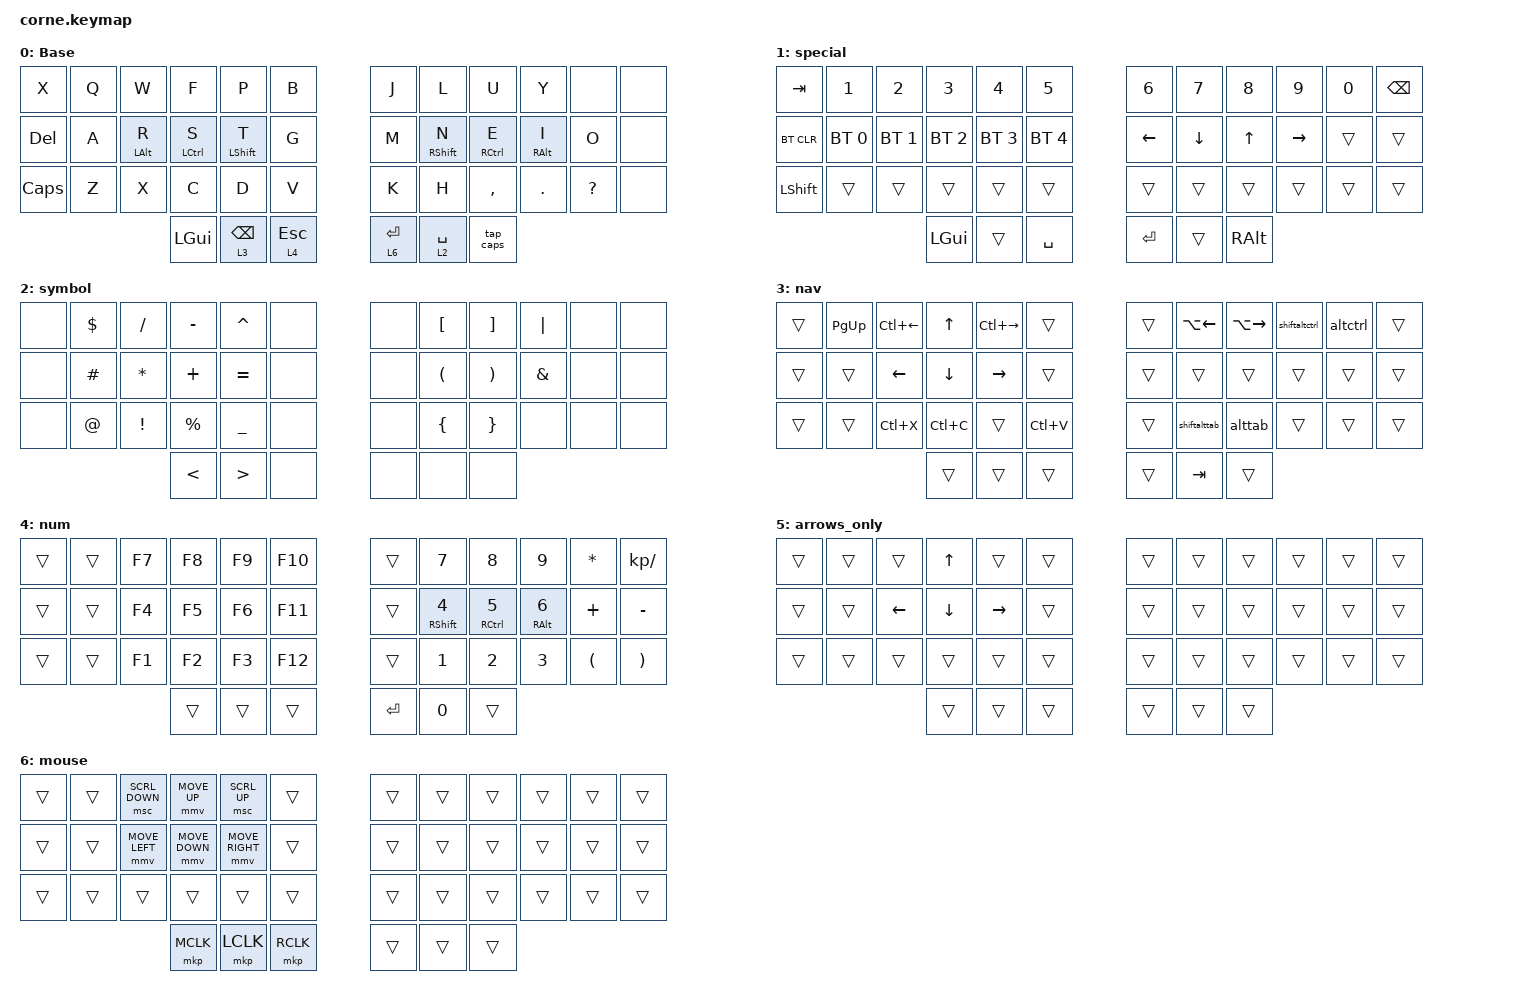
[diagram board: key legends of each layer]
/*
 * Copyright (c) 2020 The ZMK Contributors
 *
 * SPDX-License-Identifier: MIT
 */

#include <behaviors.dtsi>
#include <dt-bindings/zmk/bt.h>
#include <dt-bindings/zmk/keys.h>
#include <dt-bindings/zmk/pointing.h>

/ {
    behaviors {
        thumb_mod: thumb_mod {
            compatible = "zmk,behavior-hold-tap";
            label = "THUMB_MOD";
            bindings = <&mo>, <&kp>;

            #binding-cells = <2>;
            flavor = "balanced";
            require-prior-idle-ms = <150>;
            tapping-term-ms = <250>;
            quick-tap-ms = <175>;
        };

        homerow_left: homerow_left {
            compatible = "zmk,behavior-hold-tap";
            label = "HOMEROW_LEFT";
            bindings = <&kp>, <&kp>;

            #binding-cells = <2>;
            tapping-term-ms = <500>;
            quick-tap-ms = <175>;
            require-prior-idle-ms = <150>;
            flavor = "balanced";
            hold-trigger-on-release;
            hold-trigger-key-positions = <39 40 41 36 37 38 6 7 8 9 10 11 18 19 20 21 22 23 30 31 32 33 34 35 39 40 41>;
        };

        homerow_right: homerow_right {
            compatible = "zmk,behavior-hold-tap";
            label = "HOMEROW_RIGHT";
            bindings = <&kp>, <&kp>;

            #binding-cells = <2>;
            tapping-term-ms = <500>;
            quick-tap-ms = <175>;
            require-prior-idle-ms = <150>;
            flavor = "balanced";
            hold-trigger-on-release;
            hold-trigger-key-positions = <36 37 38 39 40 41 0 1 2 3 4 5 12 13 14 15 16 17 24 25 26 27 28 29 36 37 38>;
        };

        tap_caps: tap_caps {
            compatible = "zmk,behavior-tap-dance";
            label = "TAP_CAPS";
            #binding-cells = <0>;
            bindings = <&sk RSHFT>, <&caps_word>;

            tapping-term-ms = <400>;
        };
    };

    macros {
        altctrl: altctrl {
            compatible = "zmk,behavior-macro";
            #binding-cells = <0>;
            bindings =
                <&macro_press>,
                <&kp LCTRL &mo 5>,
                <&macro_tap>,
                <&kp TAB>,
                <&macro_pause_for_release>,
                <&macro_release>,
                <&kp LCTRL &mo 5>;

            label = "ALTCTRL";
        };

        shiftaltctrl: shiftaltctrl {
            compatible = "zmk,behavior-macro";
            #binding-cells = <0>;
            bindings =
                <&macro_press>,
                <&kp LCTRL &kp LSHIFT &mo 5>,
                <&macro_tap>,
                <&kp TAB>,
                <&macro_pause_for_release>,
                <&macro_release>,
                <&kp LCTRL &mo 5>;

            label = "SHIFTALTCTRL";
        };

        alttab: alttab {
            compatible = "zmk,behavior-macro";
            #binding-cells = <0>;
            bindings =
                <&macro_press>,
                <&kp LEFT_ALT &mo 5>,
                <&macro_tap>,
                <&kp TAB>,
                <&macro_pause_for_release>,
                <&macro_release>,
                <&kp LEFT_ALT &mo 5>;

            label = "ALTTAB";
        };

        shiftalttab: shiftalttab {
            compatible = "zmk,behavior-macro";
            #binding-cells = <0>;
            bindings =
                <&macro_press>,
                <&kp LSHIFT &kp LEFT_ALT &mo 5>,
                <&macro_tap>,
                <&kp TAB>,
                <&macro_pause_for_release>,
                <&macro_release>,
                <&kp LSHIFT &kp LEFT_ALT &mo 5>;

            label = "SHIFTALTTAB";
        };
    };

    combos {
        compatible = "zmk,combos";

        semicolon {
            bindings = <&kp SEMI>;
            key-positions = <7 19>;
            timeout-ms = <50>;
        };

        colon {
            bindings = <&kp COLON>;
            key-positions = <20 8>;
            timeout-ms = <50>;
        };

        forwardslash {
            bindings = <&kp SLASH>;
            key-positions = <31 19>;
            timeout-ms = <50>;
        };

        backslash {
            bindings = <&kp BACKSLASH>;
            key-positions = <32 20>;
            timeout-ms = <50>;
        };

        special {
            bindings = <&sl 1>;
            key-positions = <0 11>;
            timeout-ms = <50>;
        };

        quote {
            bindings = <&kp SINGLE_QUOTE>;
            key-positions = <16 4>;
            timeout-ms = <50>;
        };

        doublequote {
            bindings = <&kp DOUBLE_QUOTES>;
            key-positions = <3 15>;
            timeout-ms = <50>;
        };
    };

    keymap {
        compatible = "zmk,keymap";

        default_layer {
            // -----------------------------------------------------------------------------------------
            // |  TAB |  Q  |  W  |  E  |  R  |  T  |   |  Y  |  U   |  I  |  O  |  P  | BKSP |
            // | CTRL |  A  |  S  |  D  |  F  |  G  |   |  H  |  J   |  K  |  L  |  ;  |  '   |
            // | SHFT |  Z  |  X  |  C  |  V  |  B  |   |  N  |  M   |  ,  |  .  |  /  | ESC  |
            //                    | GUI | LWR | SPC |   | ENT | RSE  | ALT |

            display-name = "Base";
            bindings = <
&kp X       &kp Q  &kp W                     &kp F                  &kp P                       &kp B                  &kp J               &kp L                         &kp U                   &kp Y                       &none         &none
&kp DELETE  &kp A  &homerow_left LEFT_ALT R  &homerow_left LCTRL S  &homerow_left LEFT_SHIFT T  &kp G                  &kp M               &homerow_right RIGHT_SHIFT N  &homerow_right RCTRL E  &homerow_right RIGHT_ALT I  &kp O         &none
&kp CAPS    &kp Z  &kp X                     &kp C                  &kp D                       &kp V                  &kp K               &kp H                         &kp COMMA               &kp DOT                     &kp QUESTION  &none
                                             &kp LGUI               &thumb_mod 3 BACKSPACE      &thumb_mod 4 ESCAPE    &thumb_mod 6 ENTER  &thumb_mod 2 SPACE            &tap_caps
            >;
        };

        special {
            // -----------------------------------------------------------------------------------------
            // |  TAB |  1  |  2  |  3  |  4  |  5  |   |  6  |  7  |  8  |  9  |  0  | BKSP |
            // | BTCLR| BT1 | BT2 | BT3 | BT4 | BT5 |   | LFT | DWN |  UP | RGT |     |      |
            // | SHFT |     |     |     |     |     |   |     |     |     |     |     |      |
            //                    | GUI |     | SPC |   | ENT |     | ALT |

            display-name = "special";
            bindings = <
&kp TAB     &kp N1        &kp N2        &kp N3        &kp N4        &kp N5          &kp N6    &kp N7    &kp N8    &kp N9     &kp N0  &kp BSPC
&bt BT_CLR  &bt BT_SEL 0  &bt BT_SEL 1  &bt BT_SEL 2  &bt BT_SEL 3  &bt BT_SEL 4    &kp LEFT  &kp DOWN  &kp UP    &kp RIGHT  &trans  &trans
&kp LSHFT   &trans        &trans        &trans        &trans        &trans          &trans    &trans    &trans    &trans     &trans  &trans
                                        &kp LGUI      &trans        &kp SPACE       &kp RET   &trans    &kp RALT
            >;
        };

        symbol {
            bindings = <
&none  &kp DOLLAR  &kp FSLH  &kp MINUS      &kp CARET         &none    &none  &kp LBKT              &kp RBKT               &kp PIPE  &none  &none
&none  &kp HASH    &kp STAR  &kp PLUS       &kp EQUAL         &none    &none  &kp LEFT_PARENTHESIS  &kp RIGHT_PARENTHESIS  &kp AMPS  &none  &none
&none  &kp AT      &kp EXCL  &kp PERCENT    &kp UNDER         &none    &none  &kp LEFT_BRACE        &kp RIGHT_BRACE        &none     &none  &none
                             &kp LESS_THAN  &kp GREATER_THAN  &none    &none  &none                 &none
            >;
        };

        nav {
            bindings = <
&trans  &kp PG_UP  &kp LC(LEFT_ARROW)  &kp UP_ARROW    &kp LC(RIGHT)  &trans       &trans  &kp LA(LEFT_ARROW)  &kp LA(RIGHT)  &shiftaltctrl  &altctrl  &trans
&trans  &trans     &kp LEFT_ARROW      &kp DOWN_ARROW  &kp RIGHT      &trans       &trans  &trans              &trans         &trans         &trans    &trans
&trans  &trans     &kp LC(X)           &kp LC(C)       &trans         &kp LC(V)    &trans  &shiftalttab        &alttab        &trans         &trans    &trans
                                       &trans          &trans         &trans       &trans  &kp TAB             &trans
            >;
        };

        num {
            bindings = <
&trans  &trans  &kp F7  &kp F8  &kp F9  &kp F10    &trans     &kp N7                         &kp N8                   &kp N9                             &kp STAR              &kp KP_DIVIDE
&trans  &trans  &kp F4  &kp F5  &kp F6  &kp F11    &trans     &homerow_right RSHFT NUMBER_4  &homerow_right RCTRL N5  &homerow_right RIGHT_ALT NUMBER_6  &kp PLUS              &kp MINUS
&trans  &trans  &kp F1  &kp F2  &kp F3  &kp F12    &trans     &kp N1                         &kp N2                   &kp N3                             &kp LEFT_PARENTHESIS  &kp RIGHT_PARENTHESIS
                        &trans  &trans  &trans     &kp ENTER  &kp N0                         &trans
            >;
        };

        arrows_only {
            bindings = <
&trans  &trans  &trans    &kp UP    &trans     &trans    &trans  &trans  &trans  &trans  &trans  &trans
&trans  &trans  &kp LEFT  &kp DOWN  &kp RIGHT  &trans    &trans  &trans  &trans  &trans  &trans  &trans
&trans  &trans  &trans    &trans    &trans     &trans    &trans  &trans  &trans  &trans  &trans  &trans
                          &trans    &trans     &trans    &trans  &trans  &trans
            >;
        };

        mouse {
            bindings = <
&trans  &trans  &msc SCRL_DOWN  &mmv MOVE_UP    &msc SCRL_UP     &trans       &trans  &trans  &trans  &trans  &trans  &trans
&trans  &trans  &mmv MOVE_LEFT  &mmv MOVE_DOWN  &mmv MOVE_RIGHT  &trans       &trans  &trans  &trans  &trans  &trans  &trans
&trans  &trans  &trans          &trans          &trans           &trans       &trans  &trans  &trans  &trans  &trans  &trans
                                &mkp MCLK       &mkp LCLK        &mkp RCLK    &trans  &trans  &trans
            >;
        };
    };
};
